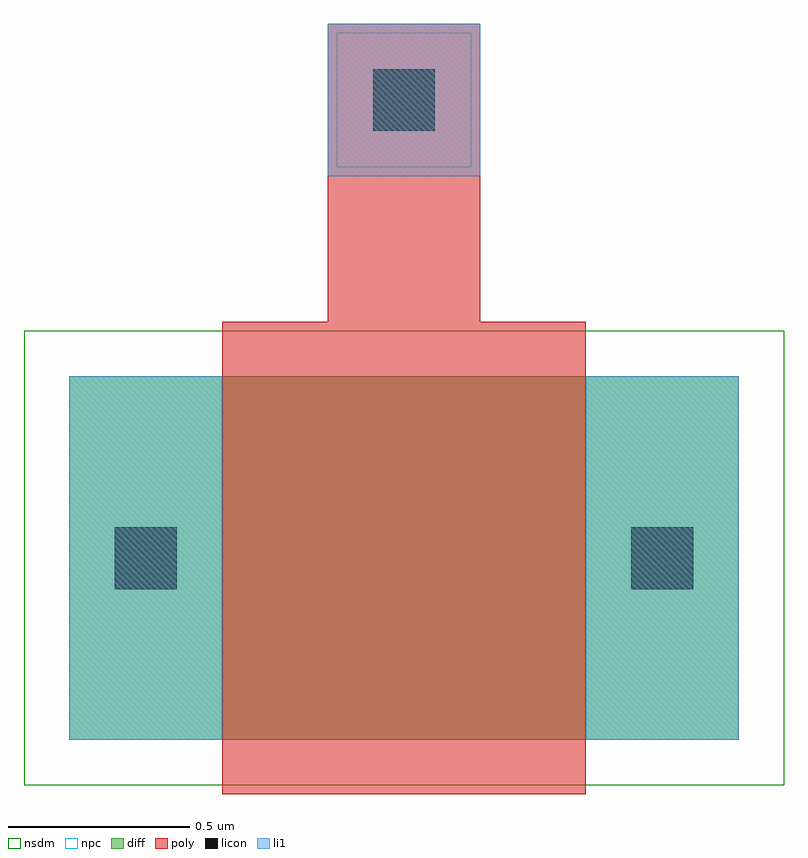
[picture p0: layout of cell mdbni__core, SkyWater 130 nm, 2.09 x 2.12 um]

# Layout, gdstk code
import gdstk
lib = gdstk.Library(unit=1e-6, precision=1e-09)
def R(c, l, rs):  # rectangles x0, y0, x1, y1
    for r in rs: c.add(gdstk.rectangle(r[:2], r[2:], *l))
diff = (65, 20)
poly = (66, 20)
licon = (66, 44)
li1 = (67, 20)
nsdm = (93, 44)
npc = (95, 20)

mdbni__core = lib.new_cell('mdbni__core')
R(mdbni__core, diff, [(0,0,1.84,1)])
R(mdbni__core, poly, [(0.42,-0.15,1.42,1), (0.42,1,1.42,1.15), (0.42,1,1.42,1.15), (0.71,1.15,1.13,1.97)])
R(mdbni__core, licon, [(0.125,0.415,0.295,0.585), (1.545,0.415,1.715,0.585), (0.835,1.675,1.005,1.845)])
R(mdbni__core, li1, [(0,0,0.42,1), (1.42,0,1.84,1), (0.71,1.55,1.13,1.97)])
R(mdbni__core, nsdm, [(-0.125,-0.125,1.965,1.125)])
R(mdbni__core, npc, [(0.735,1.575,1.105,1.945)])

lib.write_gds('mdbni__core.gds')
